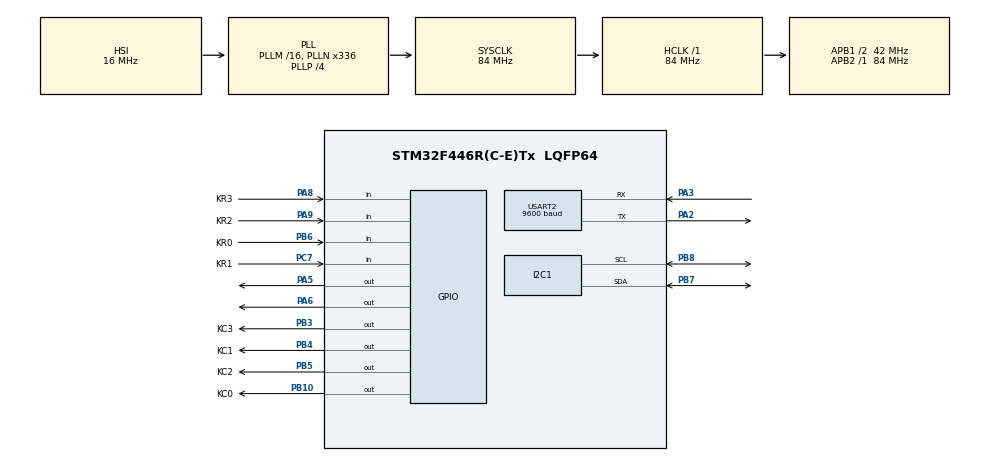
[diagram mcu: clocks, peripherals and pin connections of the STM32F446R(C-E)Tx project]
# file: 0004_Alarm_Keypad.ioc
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FREERTOS.Tasks01=defaultTask,24,128,StartDefaultTask,Default,NULL,Dynamic,NULL,NULL;Keypad,40,128,TaskKeypad,Default,NULL,Dynamic,NULL,NULL;lcd,40,128,TaskLCD,Default,NULL,Dynamic,NULL,NULL
I2C1.I2C_Mode=I2C_Fast
Mcu.Family=STM32F4
Mcu.Name=STM32F446R(C-E)Tx
Mcu.Package=LQFP64
NVIC.PriorityGroup=NVIC_PRIORITYGROUP_4
NVIC.TIM6_DAC_IRQn=true\:0\:0\:false\:false\:true\:false\:false\:true\:true
NVIC.TimeBase=TIM6_DAC_IRQn
NVIC.TimeBaseIP=TIM6
PA13.Mode=Serial_Wire
PA13.Signal=SYS_JTMS-SWDIO
PA14.Mode=Serial_Wire
PA14.Signal=SYS_JTCK-SWCLK
PA2.Mode=Asynchronous
PA2.Signal=USART2_TX
PA3.Mode=Asynchronous
PA3.Signal=USART2_RX
PA5.Signal=GPIO_Output
PA6.Signal=GPIO_Output
PA8.GPIO_Label=KR3
PA8.GPIO_PuPd=GPIO_PULLDOWN
PA8.Signal=GPIO_Input
PA9.GPIO_Label=KR2
PA9.GPIO_PuPd=GPIO_PULLDOWN
PA9.Signal=GPIO_Input
PB10.GPIO_Label=KC0
PB10.Signal=GPIO_Output
PB3.GPIO_Label=KC3
PB3.Signal=GPIO_Output
PB4.GPIO_Label=KC1
PB4.Signal=GPIO_Output
PB5.GPIO_Label=KC2
PB5.Signal=GPIO_Output
PB6.GPIO_Label=KR0
PB6.GPIO_PuPd=GPIO_PULLDOWN
PB6.Signal=GPIO_Input
PB7.Mode=I2C
PB7.Signal=I2C1_SDA
PB8.Mode=I2C
PB8.Signal=I2C1_SCL
PC14-OSC32_IN.Mode=LSE-External-Oscillator
PC14-OSC32_IN.Signal=RCC_OSC32_IN
PC15-OSC32_OUT.Mode=LSE-External-Oscillator
PC15-OSC32_OUT.Signal=RCC_OSC32_OUT
PC7.GPIO_Label=KR1
PC7.GPIO_PuPd=GPIO_PULLDOWN
PC7.Signal=GPIO_Input
PH0-OSC_IN.Mode=HSE-External-Oscillator
PH0-OSC_IN.Signal=RCC_OSC_IN
PH1-OSC_OUT.Mode=HSE-External-Oscillator
PH1-OSC_OUT.Signal=RCC_OSC_OUT
ProjectManager.HeapSize=0x200
ProjectManager.StackSize=0x400
ProjectManager.TargetToolchain=STM32CubeIDE
RCC.48MHZClocksFreq_Value=84000000
RCC.AHBFreq_Value=84000000
RCC.APB1CLKDivider=RCC_HCLK_DIV2
RCC.APB1Freq_Value=42000000
RCC.APB1TimFreq_Value=84000000
RCC.APB2Freq_Value=84000000
RCC.APB2TimFreq_Value=84000000
RCC.CortexFreq_Value=84000000
RCC.FLatency-AdvancedSettings=FLASH_LATENCY_2
RCC.HCLKFreq_Value=84000000
RCC.HSE_VALUE=8000000
RCC.HSI_VALUE=16000000
RCC.PLLN=336
RCC.PLLP=RCC_PLLP_DIV4
RCC.SYSCLKFreq_VALUE=84000000
RCC.SYSCLKSource=RCC_SYSCLKSOURCE_PLLCLK
RCC.USBFreq_Value=168000000
RCC.VCOOutputFreq_Value=336000000
USART2.BaudRate=9600
USART2.VirtualMode=VM_ASYNC
VP_FREERTOS_VS_CMSIS_V2.Mode=CMSIS_V2
VP_SYS_VS_tim6.Mode=TIM6
board=NUCLEO-F446RE

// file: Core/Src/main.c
/* USER CODE BEGIN Header */
/**
  ******************************************************************************
  * @file           : main.c
  * @brief          : Main program body
  ******************************************************************************
  * @attention
  *
  * Copyright (c) 2024 STMicroelectronics.
  * All rights reserved.
  *
  * This software is licensed under terms that can be found in the LICENSE file
  * in the root directory of this software component.
  * If no LICENSE file comes with this software, it is provided AS-IS.
  *
  ******************************************************************************
  */
/* USER CODE END Header */
#include "main.h"
#include "cmsis_os.h"

/* USER CODE BEGIN Includes */
#include "Keypad4X4.h"
#include <stdio.h>
#include <string.h>
#include <stdlib.h>
#include "fonts.h"
#include "ssd1306.h"

/* USER CODE END Includes */

I2C_HandleTypeDef hi2c1;

UART_HandleTypeDef huart2;

/* Definitions for defaultTask */
osThreadId_t defaultTaskHandle;
const osThreadAttr_t defaultTask_attributes = {
  .name = "defaultTask",
  .stack_size = 128 * 4,
  .priority = (osPriority_t) osPriorityNormal,
};
/* Definitions for Keypad */
osThreadId_t KeypadHandle;
const osThreadAttr_t Keypad_attributes = {
  .name = "Keypad",
  .stack_size = 128 * 4,
  .priority = (osPriority_t) osPriorityHigh,
};
/* Definitions for lcd */
osThreadId_t lcdHandle;
const osThreadAttr_t lcd_attributes = {
  .name = "lcd",
  .stack_size = 128 * 4,
  .priority = (osPriority_t) osPriorityHigh,
};
/* USER CODE BEGIN PV */
extern char key;
char hold[6];
char password[6];
bool armed = false;
char codeDisplay[11];
bool hasChanged = true;

/* USER CODE END PV */

void SystemClock_Config(void);
static void MX_GPIO_Init(void);
static void MX_USART2_UART_Init(void);
static void MX_I2C1_Init(void);
void StartDefaultTask(void *argument);
void TaskKeypad(void *argument);
void TaskLCD(void *argument);

int main(void)
{

  /* MCU Configuration--------------------------------------------------------*/

  /* Reset of all peripherals, Initializes the Flash interface and the Systick. */
  HAL_Init();

  /* Configure the system clock */
  SystemClock_Config();

  /* Initialize all configured peripherals */
  MX_GPIO_Init();
  MX_USART2_UART_Init();
  MX_I2C1_Init();
  /* USER CODE BEGIN 2 */
  /* USER CODE BEGIN 2 */
    SSD1306_Init();
    SSD1306_GotoXY (0,0);
    //SSD1306_Puts ("Voltage:", &Font_11x18, 1);
    SSD1306_Puts ("SET CODE:", &Font_11x18, 1);
    SSD1306_GotoXY (0, 30);
    SSD1306_UpdateScreen();
    SSD1306_UpdateScreen();

    HAL_Delay (500);

  /* USER CODE END 2 */

  /* Init scheduler */
  osKernelInitialize();

  /* Create the thread(s) */
  /* creation of defaultTask */
  defaultTaskHandle = osThreadNew(StartDefaultTask, NULL, &defaultTask_attributes);

  /* creation of Keypad */
  KeypadHandle = osThreadNew(TaskKeypad, NULL, &Keypad_attributes);

  /* creation of lcd */
  lcdHandle = osThreadNew(TaskLCD, NULL, &lcd_attributes);

  /* Start scheduler */
  osKernelStart();

  /* We should never get here as control is now taken by the scheduler */
  /* Infinite loop */
  while (1)
  {

    /* USER CODE BEGIN 3 */
	/* D10 to D7 as input pins for row 0 to row 3. D6 to D3 as output for column pins C1 to C3*/
	  key = Get_Key();
	  sprintf(hold, "%c", key);
	  HAL_UART_Transmit(&huart2, (uint8_t *)hold, strlen(hold), 100);
	  SSD1306_GotoXY (0, 30);
	  SSD1306_UpdateScreen();
	  SSD1306_Puts (hold, &Font_11x18, 1);
	  SSD1306_UpdateScreen();
	  HAL_Delay (500);
  }
  /* USER CODE END 3 */
}

void SystemClock_Config(void)
{
  RCC_OscInitTypeDef RCC_OscInitStruct = {0};
  RCC_ClkInitTypeDef RCC_ClkInitStruct = {0};

  /** Configure the main internal regulator output voltage
  */
  __HAL_RCC_PWR_CLK_ENABLE();
  __HAL_PWR_VOLTAGESCALING_CONFIG(PWR_REGULATOR_VOLTAGE_SCALE3);

  /** Initializes the RCC Oscillators according to the specified parameters
  * in the RCC_OscInitTypeDef structure.
  */
  RCC_OscInitStruct.OscillatorType = RCC_OSCILLATORTYPE_HSI;
  RCC_OscInitStruct.HSIState = RCC_HSI_ON;
  RCC_OscInitStruct.HSICalibrationValue = RCC_HSICALIBRATION_DEFAULT;
  RCC_OscInitStruct.PLL.PLLState = RCC_PLL_ON;
  RCC_OscInitStruct.PLL.PLLSource = RCC_PLLSOURCE_HSI;
  RCC_OscInitStruct.PLL.PLLM = 16;
  RCC_OscInitStruct.PLL.PLLN = 336;
  RCC_OscInitStruct.PLL.PLLP = RCC_PLLP_DIV4;
  RCC_OscInitStruct.PLL.PLLQ = 2;
  RCC_OscInitStruct.PLL.PLLR = 2;
  if (HAL_RCC_OscConfig(&RCC_OscInitStruct) != HAL_OK)
  {
    Error_Handler();
  }

  /** Initializes the CPU, AHB and APB buses clocks
  */
  RCC_ClkInitStruct.ClockType = RCC_CLOCKTYPE_HCLK|RCC_CLOCKTYPE_SYSCLK
                              |RCC_CLOCKTYPE_PCLK1|RCC_CLOCKTYPE_PCLK2;
  RCC_ClkInitStruct.SYSCLKSource = RCC_SYSCLKSOURCE_PLLCLK;
  RCC_ClkInitStruct.AHBCLKDivider = RCC_SYSCLK_DIV1;
  RCC_ClkInitStruct.APB1CLKDivider = RCC_HCLK_DIV2;
  RCC_ClkInitStruct.APB2CLKDivider = RCC_HCLK_DIV1;

  if (HAL_RCC_ClockConfig(&RCC_ClkInitStruct, FLASH_LATENCY_2) != HAL_OK)
  {
    Error_Handler();
  }
}

static void MX_I2C1_Init(void)
{

  hi2c1.Instance = I2C1;
  hi2c1.Init.ClockSpeed = 400000;
  hi2c1.Init.DutyCycle = I2C_DUTYCYCLE_2;
  hi2c1.Init.OwnAddress1 = 0;
  hi2c1.Init.AddressingMode = I2C_ADDRESSINGMODE_7BIT;
  hi2c1.Init.DualAddressMode = I2C_DUALADDRESS_DISABLE;
  hi2c1.Init.OwnAddress2 = 0;
  hi2c1.Init.GeneralCallMode = I2C_GENERALCALL_DISABLE;
  hi2c1.Init.NoStretchMode = I2C_NOSTRETCH_DISABLE;
  if (HAL_I2C_Init(&hi2c1) != HAL_OK)
  {
    Error_Handler();
  }

}

static void MX_USART2_UART_Init(void)
{

  huart2.Instance = USART2;
  huart2.Init.BaudRate = 9600;
  huart2.Init.WordLength = UART_WORDLENGTH_8B;
  huart2.Init.StopBits = UART_STOPBITS_1;
  huart2.Init.Parity = UART_PARITY_NONE;
  huart2.Init.Mode = UART_MODE_TX_RX;
  huart2.Init.HwFlowCtl = UART_HWCONTROL_NONE;
  huart2.Init.OverSampling = UART_OVERSAMPLING_16;
  if (HAL_UART_Init(&huart2) != HAL_OK)
  {
    Error_Handler();
  }

}

static void MX_GPIO_Init(void)
{
  GPIO_InitTypeDef GPIO_InitStruct = {0};

  /* GPIO Ports Clock Enable */
  __HAL_RCC_GPIOC_CLK_ENABLE();
  __HAL_RCC_GPIOH_CLK_ENABLE();
  __HAL_RCC_GPIOA_CLK_ENABLE();
  __HAL_RCC_GPIOB_CLK_ENABLE();

  /*Configure GPIO pin Output Level */
  HAL_GPIO_WritePin(GPIOA, GPIO_PIN_5|GPIO_PIN_6, GPIO_PIN_RESET);

  /*Configure GPIO pin Output Level */
  HAL_GPIO_WritePin(GPIOB, KC0_Pin|KC3_Pin|KC1_Pin|KC2_Pin, GPIO_PIN_RESET);

  /*Configure GPIO pins : PA5 PA6 */
  GPIO_InitStruct.Pin = GPIO_PIN_5|GPIO_PIN_6;
  GPIO_InitStruct.Mode = GPIO_MODE_OUTPUT_PP;
  GPIO_InitStruct.Pull = GPIO_NOPULL;
  GPIO_InitStruct.Speed = GPIO_SPEED_FREQ_LOW;
  HAL_GPIO_Init(GPIOA, &GPIO_InitStruct);

  /*Configure GPIO pins : KC0_Pin KC3_Pin KC1_Pin KC2_Pin */
  GPIO_InitStruct.Pin = KC0_Pin|KC3_Pin|KC1_Pin|KC2_Pin;
  GPIO_InitStruct.Mode = GPIO_MODE_OUTPUT_PP;
  GPIO_InitStruct.Pull = GPIO_NOPULL;
  GPIO_InitStruct.Speed = GPIO_SPEED_FREQ_LOW;
  HAL_GPIO_Init(GPIOB, &GPIO_InitStruct);

  /*Configure GPIO pin : KR1_Pin */
  GPIO_InitStruct.Pin = KR1_Pin;
  GPIO_InitStruct.Mode = GPIO_MODE_INPUT;
  GPIO_InitStruct.Pull = GPIO_PULLDOWN;
  HAL_GPIO_Init(KR1_GPIO_Port, &GPIO_InitStruct);

  /*Configure GPIO pins : KR3_Pin KR2_Pin */
  GPIO_InitStruct.Pin = KR3_Pin|KR2_Pin;
  GPIO_InitStruct.Mode = GPIO_MODE_INPUT;
  GPIO_InitStruct.Pull = GPIO_PULLDOWN;
  HAL_GPIO_Init(GPIOA, &GPIO_InitStruct);

  /*Configure GPIO pin : KR0_Pin */
  GPIO_InitStruct.Pin = KR0_Pin;
  GPIO_InitStruct.Mode = GPIO_MODE_INPUT;
  GPIO_InitStruct.Pull = GPIO_PULLDOWN;
  HAL_GPIO_Init(KR0_GPIO_Port, &GPIO_InitStruct);

}

void StartDefaultTask(void *argument)
{
  for(;;)
  {
    osDelay(1);
  }
}

void TaskKeypad(void *argument)
{
  /* USER CODE BEGIN TaskKeypad */
  /* Infinite loop */
  for(;;)
  {

	  memset(hold, '\0', sizeof(hold)); // clear the value of hold
	  memset(codeDisplay, '\0', sizeof(codeDisplay)); // clear the value of codeDisplay
	  //strcat(codeDisplay, "Code:"); // reverts text back to "Code:"

	  for(int i = 0; i < 6; i++){
		  if(i == 0){
			  SSD1306_GotoXY (0, 30); // tells to write on second line
			  SSD1306_UpdateScreen();
			  SSD1306_Puts ("             ", &Font_11x18, 1); // displays '-' for every key pressed before '#'
			  SSD1306_UpdateScreen();
		  }

		  key = Get_Key(); // gets value of pressed key

		  if(key == '#' && (strlen(hold) == 4 || strlen(hold) == 6)){ // checks if star key pressed and length of entered password is either 4 or 6
			  if(strlen(password) != 0 && (0 == strcmp(hold, password))){ // check to see is the password has been set and if password has the same value as hold(the code entered to arm or disarm)
				  armed = !armed; // changes the state of armed to the opposite of its current state
				  //HAL_GPIO_TogglePin(GPIOA, GPIO_PIN_5); // changes the state of the green light (will be on when disarmed and off when armed)
				  //HAL_GPIO_TogglePin(GPIOA, GPIO_PIN_6); // changes the state of the red light (will be on when armed and off when disarmed)
				  hasChanged = false; // changes the value of hasChanged to false to indicate that the light has not been toggled on change of armed or disarmed
				  break;
			  }
			  else if(strlen(password) == 0){ // checks to see if the password has not been set
				  strncpy(password, hold, 6); // copies the value of hold(the code entered by the user) into password(the stored user set code)
				  armed = !armed; // set the sate to armed after code initially set
				  //HAL_GPIO_TogglePin(GPIOA, GPIO_PIN_5); // turns off the green light as the system is now armed
				  //HAL_GPIO_TogglePin(GPIOA, GPIO_PIN_6); // turns on the red light as the system is now armed
				  hasChanged = false; // changes the value of hasChanged to false to indicate that the light has not been toggled on change of armed or disarmed
				  break;
			  }
			  //HAL_GPIO_TogglePin(GPIOA, GPIO_PIN_5);
			  break; // exits the loop if invalid code tried
		  }
		  else{ // if key pressed that is not '#'
			  strcat(hold, &key); // puts key at the end of hold
			  strcat(codeDisplay, "-"); // puts '-' in the text displaying the code on the LCD
		  }
		  HAL_Delay(100);

	  }
    //osDelay(1);
  }
  /* USER CODE END TaskKeypad */
}

void TaskLCD(void *argument)
{
  /* USER CODE BEGIN TaskLCD */
  /* Infinite loop */
  for(;;)
  {
	  // changes the value of armed or disarmed text
	  if(strlen(password) == 0){
		  SSD1306_GotoXY (0, 0); // tells to write on first line
		  SSD1306_UpdateScreen();
		  SSD1306_Puts ("SET CODE", &Font_11x18, 1);
		  SSD1306_UpdateScreen();
	  }
	  else if(armed){
		  SSD1306_GotoXY (0, 0); // tells to write on first line
		  SSD1306_UpdateScreen();
		  SSD1306_Puts ("ARMED    ", &Font_11x18, 1);
		  SSD1306_UpdateScreen();
	  }
	  else{
		  SSD1306_GotoXY (0, 0); // tells to write on first line
		  SSD1306_UpdateScreen();
		  SSD1306_Puts ("DISARMED  ", &Font_11x18, 1);
		  SSD1306_UpdateScreen();
	  }

	  if(hasChanged == false){ // checks to see if the light has to be toggled
		  HAL_GPIO_TogglePin(GPIOA, GPIO_PIN_5); // toggles the light
		  hasChanged = true; // changes the value of hasChanged to true indicating the light has been toggled
	  }

	  // update code text
//	  if(strlen(codeDisplay) == 5){ // clears the display to ensure no leftover text (== 5 means only "Code:")
//		  SSD1306_Clear();
//	  }
	  SSD1306_GotoXY (0, 30); // tells to write on second line
	  SSD1306_UpdateScreen();
	  SSD1306_Puts (hold, &Font_11x18, 1); // displays '-' for every key pressed before '#'
	  SSD1306_UpdateScreen();

    //osDelay(1);
  }
  /* USER CODE END TaskLCD */
}

void HAL_TIM_PeriodElapsedCallback(TIM_HandleTypeDef *htim)
{
  if (htim->Instance == TIM6) {
    HAL_IncTick();
  }
}

void Error_Handler(void)
{
  __disable_irq();
  while (1)
  {
  }
}
